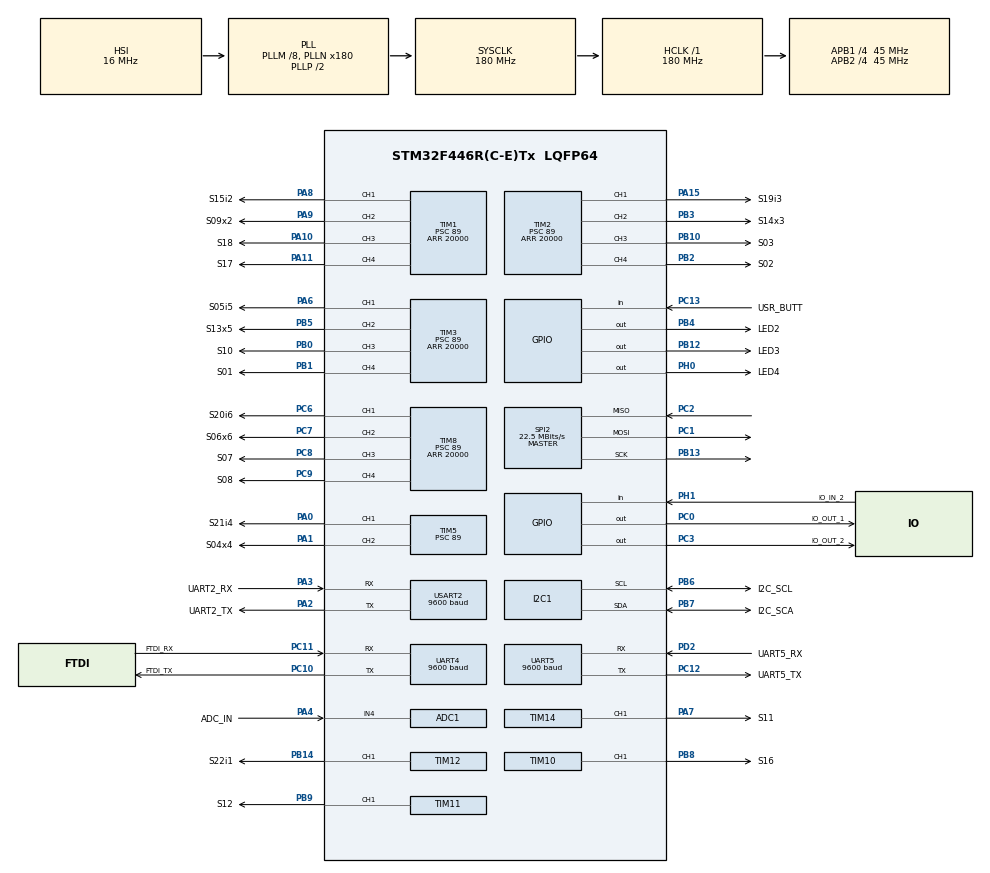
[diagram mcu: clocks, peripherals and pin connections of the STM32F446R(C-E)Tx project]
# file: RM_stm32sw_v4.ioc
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ADC1.Channel-0\#ChannelRegularConversion=ADC_CHANNEL_4
ADC1.NbrOfConversionFlag=1
ADC1.Rank-0\#ChannelRegularConversion=1
ADC1.SamplingTime-0\#ChannelRegularConversion=ADC_SAMPLETIME_3CYCLES
ADC1.master=1
Dma.Request0=USART2_RX
Dma.Request1=USART2_TX
Dma.Request2=UART4_RX
Dma.Request3=UART4_TX
Dma.Request4=UART5_RX
Dma.Request5=UART5_TX
Dma.Request6=SPI2_RX
Dma.SPI2_RX.6.Direction=DMA_PERIPH_TO_MEMORY
Dma.SPI2_RX.6.FIFOMode=DMA_FIFOMODE_DISABLE
Dma.SPI2_RX.6.Instance=DMA1_Stream3
Dma.SPI2_RX.6.MemDataAlignment=DMA_MDATAALIGN_BYTE
Dma.SPI2_RX.6.MemInc=DMA_MINC_ENABLE
Dma.SPI2_RX.6.Mode=DMA_NORMAL
Dma.SPI2_RX.6.PeriphDataAlignment=DMA_PDATAALIGN_BYTE
Dma.SPI2_RX.6.PeriphInc=DMA_PINC_DISABLE
Dma.SPI2_RX.6.Priority=DMA_PRIORITY_LOW
Dma.UART4_RX.2.Direction=DMA_PERIPH_TO_MEMORY
Dma.UART4_RX.2.FIFOMode=DMA_FIFOMODE_DISABLE
Dma.UART4_RX.2.Instance=DMA1_Stream2
Dma.UART4_RX.2.MemDataAlignment=DMA_MDATAALIGN_BYTE
Dma.UART4_RX.2.MemInc=DMA_MINC_ENABLE
Dma.UART4_RX.2.Mode=DMA_NORMAL
Dma.UART4_RX.2.PeriphDataAlignment=DMA_PDATAALIGN_BYTE
Dma.UART4_RX.2.PeriphInc=DMA_PINC_DISABLE
Dma.UART4_RX.2.Priority=DMA_PRIORITY_LOW
Dma.UART4_TX.3.Direction=DMA_MEMORY_TO_PERIPH
Dma.UART4_TX.3.FIFOMode=DMA_FIFOMODE_DISABLE
Dma.UART4_TX.3.Instance=DMA1_Stream4
Dma.UART4_TX.3.MemDataAlignment=DMA_MDATAALIGN_BYTE
Dma.UART4_TX.3.MemInc=DMA_MINC_ENABLE
Dma.UART4_TX.3.Mode=DMA_NORMAL
Dma.UART4_TX.3.PeriphDataAlignment=DMA_PDATAALIGN_BYTE
Dma.UART4_TX.3.PeriphInc=DMA_PINC_DISABLE
Dma.UART4_TX.3.Priority=DMA_PRIORITY_LOW
Dma.UART5_RX.4.Direction=DMA_PERIPH_TO_MEMORY
Dma.UART5_RX.4.FIFOMode=DMA_FIFOMODE_DISABLE
Dma.UART5_RX.4.Instance=DMA1_Stream0
Dma.UART5_RX.4.MemDataAlignment=DMA_MDATAALIGN_BYTE
Dma.UART5_RX.4.MemInc=DMA_MINC_ENABLE
Dma.UART5_RX.4.Mode=DMA_NORMAL
Dma.UART5_RX.4.PeriphDataAlignment=DMA_PDATAALIGN_BYTE
Dma.UART5_RX.4.PeriphInc=DMA_PINC_DISABLE
Dma.UART5_RX.4.Priority=DMA_PRIORITY_LOW
Dma.UART5_TX.5.Direction=DMA_MEMORY_TO_PERIPH
Dma.UART5_TX.5.FIFOMode=DMA_FIFOMODE_DISABLE
Dma.UART5_TX.5.Instance=DMA1_Stream7
Dma.UART5_TX.5.MemDataAlignment=DMA_MDATAALIGN_BYTE
Dma.UART5_TX.5.MemInc=DMA_MINC_ENABLE
Dma.UART5_TX.5.Mode=DMA_NORMAL
Dma.UART5_TX.5.PeriphDataAlignment=DMA_PDATAALIGN_BYTE
Dma.UART5_TX.5.PeriphInc=DMA_PINC_DISABLE
Dma.UART5_TX.5.Priority=DMA_PRIORITY_LOW
Dma.USART2_RX.0.Direction=DMA_PERIPH_TO_MEMORY
Dma.USART2_RX.0.FIFOMode=DMA_FIFOMODE_DISABLE
Dma.USART2_RX.0.Instance=DMA1_Stream5
Dma.USART2_RX.0.MemDataAlignment=DMA_MDATAALIGN_BYTE
Dma.USART2_RX.0.MemInc=DMA_MINC_ENABLE
Dma.USART2_RX.0.Mode=DMA_NORMAL
Dma.USART2_RX.0.PeriphDataAlignment=DMA_PDATAALIGN_BYTE
Dma.USART2_RX.0.PeriphInc=DMA_PINC_DISABLE
Dma.USART2_RX.0.Priority=DMA_PRIORITY_LOW
Dma.USART2_TX.1.Direction=DMA_MEMORY_TO_PERIPH
Dma.USART2_TX.1.FIFOMode=DMA_FIFOMODE_DISABLE
Dma.USART2_TX.1.Instance=DMA1_Stream6
Dma.USART2_TX.1.MemDataAlignment=DMA_MDATAALIGN_BYTE
Dma.USART2_TX.1.MemInc=DMA_MINC_ENABLE
Dma.USART2_TX.1.Mode=DMA_NORMAL
Dma.USART2_TX.1.PeriphDataAlignment=DMA_PDATAALIGN_BYTE
Dma.USART2_TX.1.PeriphInc=DMA_PINC_DISABLE
Dma.USART2_TX.1.Priority=DMA_PRIORITY_LOW
Mcu.Family=STM32F4
Mcu.Name=STM32F446R(C-E)Tx
Mcu.Package=LQFP64
NVIC.DMA1_Stream0_IRQn=true\:0\:0\:false\:false\:true\:false\:true
NVIC.DMA1_Stream2_IRQn=true\:0\:0\:false\:false\:true\:false\:true
NVIC.DMA1_Stream3_IRQn=true\:0\:0\:false\:false\:true\:false\:true
NVIC.DMA1_Stream4_IRQn=true\:0\:0\:false\:false\:true\:false\:true
NVIC.DMA1_Stream5_IRQn=true\:0\:0\:false\:false\:true\:false\:true
NVIC.DMA1_Stream6_IRQn=true\:0\:0\:false\:false\:true\:false\:true
NVIC.DMA1_Stream7_IRQn=true\:0\:0\:false\:false\:true\:false\:true
NVIC.PriorityGroup=NVIC_PRIORITYGROUP_4
NVIC.TIM8_UP_TIM13_IRQn=true\:0\:0\:false\:false\:true\:true\:true
NVIC.UART4_IRQn=true\:0\:0\:false\:false\:true\:true\:true
PA0-WKUP.GPIO_Label=S21i4
PA0-WKUP.Signal=S_TIM5_CH1
PA1.GPIO_Label=S04x4
PA1.Signal=S_TIM5_CH2
PA10.GPIO_Label=S18
PA10.Signal=S_TIM1_CH3
PA11.GPIO_Label=S17
PA11.Signal=S_TIM1_CH4
PA13.GPIO_Label=SWDIO
PA13.Mode=Serial_Wire
PA13.Signal=SYS_JTMS-SWDIO
PA14.GPIO_Label=SWCLK
PA14.Mode=Serial_Wire
PA14.Signal=SYS_JTCK-SWCLK
PA15.GPIO_Label=S19i3
PA15.Signal=S_TIM2_CH1_ETR
PA2.GPIO_Label=UART2_TX
PA2.Mode=Asynchronous
PA2.Signal=USART2_TX
PA3.GPIO_Label=UART2_RX
PA3.Mode=Asynchronous
PA3.Signal=USART2_RX
PA4.GPIO_Label=ADC_IN
PA4.Signal=SharedAnalog_PA4
PA6.GPIO_Label=S05i5
PA6.Signal=S_TIM3_CH1
PA7.GPIO_Label=S11
PA7.Signal=S_TIM14_CH1
PA8.GPIO_Label=S15i2
PA8.Signal=S_TIM1_CH1
PA9.GPIO_Label=S09x2
PA9.Signal=S_TIM1_CH2
PB0.GPIO_Label=S10
PB0.Signal=S_TIM3_CH3
PB1.GPIO_Label=S01
PB1.Signal=S_TIM3_CH4
PB10.GPIO_Label=S03
PB10.Signal=S_TIM2_CH3
PB12.GPIO_Label=LED3
PB12.Signal=GPIO_Output
PB13.Mode=Full_Duplex_Master
PB13.Signal=SPI2_SCK
PB14.GPIO_Label=S22i1
PB14.Signal=S_TIM12_CH1
PB2.GPIO_Label=S02
PB2.Signal=S_TIM2_CH4
PB3.GPIO_Label=S14x3
PB3.Signal=S_TIM2_CH2
PB4.GPIO_Label=LED2
PB4.Signal=GPIO_Output
PB5.GPIO_Label=S13x5
PB5.Signal=S_TIM3_CH2
PB6.GPIO_Label=I2C_SCL
PB6.Mode=I2C
PB6.Signal=I2C1_SCL
PB7.GPIO_Label=I2C_SCA
PB7.Mode=I2C
PB7.Signal=I2C1_SDA
PB8.GPIO_Label=S16
PB8.Signal=S_TIM10_CH1
PB9.GPIO_Label=S12
PB9.Signal=S_TIM11_CH1
PC0.GPIO_Label=IO_OUT_1
PC0.Signal=GPIO_Output
PC1.Mode=Full_Duplex_Master
PC1.Signal=SPI2_MOSI
PC10.GPIO_Label=FTDI_TX
PC10.Mode=Asynchronous
PC10.Signal=UART4_TX
PC11.GPIO_Label=FTDI_RX
PC11.Mode=Asynchronous
PC11.Signal=UART4_RX
PC12.GPIO_Label=UART5_TX
PC12.Mode=Asynchronous
PC12.Signal=UART5_TX
PC13.GPIO_Label=USR_BUTT
PC13.Signal=GPIO_Input
PC14-OSC32_IN.GPIO_Label=OSC_IN
PC14-OSC32_IN.Signal=RCC_OSC32_IN
PC15-OSC32_OUT.GPIO_Label=OSC_OUT
PC15-OSC32_OUT.Signal=RCC_OSC32_OUT
PC2.Mode=Full_Duplex_Master
PC2.Signal=SPI2_MISO
PC3.GPIO_Label=IO_OUT_2
PC3.Signal=GPIO_Output
PC6.GPIO_Label=S20i6
PC6.Signal=S_TIM8_CH1
PC7.GPIO_Label=S06x6
PC7.Signal=S_TIM8_CH2
PC8.GPIO_Label=S07
PC8.Signal=S_TIM8_CH3
PC9.GPIO_Label=S08
PC9.Signal=S_TIM8_CH4
PD2.GPIO_Label=UART5_RX
PD2.Mode=Asynchronous
PD2.Signal=UART5_RX
PH0-OSC_IN.GPIO_Label=LED4
PH0-OSC_IN.Signal=GPIO_Output
PH1-OSC_OUT.GPIO_Label=IO_IN_2
PH1-OSC_OUT.Signal=GPIO_Input
ProjectManager.HeapSize=0x200
ProjectManager.StackSize=0x400
ProjectManager.TargetToolchain=TrueSTUDIO
RCC.AHBFreq_Value=180000000
RCC.APB1CLKDivider=RCC_HCLK_DIV4
RCC.APB1Freq_Value=45000000
RCC.APB1TimFreq_Value=90000000
RCC.APB2CLKDivider=RCC_HCLK_DIV4
RCC.APB2Freq_Value=45000000
RCC.APB2TimFreq_Value=90000000
RCC.CortexFreq_Value=180000000
RCC.HCLKFreq_Value=180000000
RCC.PLLM=8
RCC.PLLN=180
RCC.SYSCLKFreq_VALUE=180000000
RCC.SYSCLKSource=RCC_SYSCLKSOURCE_PLLCLK
RCC.USBFreq_Value=180000000
RCC.VCOOutputFreq_Value=360000000
SH.S_TIM10_CH1.0=TIM10_CH1,PWM Generation1 CH1
SH.S_TIM11_CH1.0=TIM11_CH1,PWM Generation1 CH1
SH.S_TIM12_CH1.0=TIM12_CH1,PWM Generation1 CH1
SH.S_TIM14_CH1.0=TIM14_CH1,PWM Generation1 CH1
SH.S_TIM1_CH1.0=TIM1_CH1,PWM Generation1 CH1
SH.S_TIM1_CH2.0=TIM1_CH2,PWM Generation2 CH2
SH.S_TIM1_CH3.0=TIM1_CH3,PWM Generation3 CH3
SH.S_TIM1_CH4.0=TIM1_CH4,PWM Generation4 CH4
SH.S_TIM2_CH1_ETR.0=TIM2_CH1,PWM Generation1 CH1
SH.S_TIM2_CH2.0=TIM2_CH2,PWM Generation2 CH2
SH.S_TIM2_CH3.0=TIM2_CH3,PWM Generation3 CH3
SH.S_TIM2_CH4.0=TIM2_CH4,PWM Generation4 CH4
SH.S_TIM3_CH1.0=TIM3_CH1,PWM Generation1 CH1
SH.S_TIM3_CH2.0=TIM3_CH2,PWM Generation2 CH2
SH.S_TIM3_CH3.0=TIM3_CH3,PWM Generation3 CH3
SH.S_TIM3_CH4.0=TIM3_CH4,PWM Generation4 CH4
SH.S_TIM5_CH1.0=TIM5_CH1,PWM Generation1 CH1
SH.S_TIM5_CH2.0=TIM5_CH2,PWM Generation2 CH2
SH.S_TIM8_CH1.0=TIM8_CH1,PWM Generation1 CH1
SH.S_TIM8_CH2.0=TIM8_CH2,PWM Generation2 CH2
SH.S_TIM8_CH3.0=TIM8_CH3,PWM Generation3 CH3
SH.S_TIM8_CH4.0=TIM8_CH4,PWM Generation4 CH4
SH.SharedAnalog_PA4.0=GPIO_Analog
SH.SharedAnalog_PA4.1=ADC1_IN4,IN4
SPI2.BaudRatePrescaler=SPI_BAUDRATEPRESCALER_2
SPI2.CalculateBaudRate=22.5 MBits/s
SPI2.Direction=SPI_DIRECTION_2LINES
SPI2.Mode=SPI_MODE_MASTER
SPI2.VirtualType=VM_MASTER
TIM1.Channel-PWM\ Generation1\ CH1=TIM_CHANNEL_1
TIM1.Channel-PWM\ Generation2\ CH2=TIM_CHANNEL_2
TIM1.Channel-PWM\ Generation3\ CH3=TIM_CHANNEL_3
TIM1.Channel-PWM\ Generation4\ CH4=TIM_CHANNEL_4
TIM1.Period=20000
TIM1.Prescaler=89
TIM1.Pulse-PWM\ Generation1\ CH1=1500
TIM1.Pulse-PWM\ Generation2\ CH2=1500
TIM1.Pulse-PWM\ Generation3\ CH3=1500
TIM1.Pulse-PWM\ Generation4\ CH4=1500
TIM10.Channel=TIM_CHANNEL_1
TIM10.Period=20000
TIM10.Prescaler=89
TIM10.Pulse=1500
TIM11.Channel=TIM_CHANNEL_1
TIM11.Period=20000
TIM11.Prescaler=89
TIM11.Pulse=1500
TIM12.Channel-PWM\ Generation1\ CH1=TIM_CHANNEL_1
TIM13.Period=20000
TIM13.Prescaler=89
TIM14.Channel=TIM_CHANNEL_1
TIM14.Period=20000
TIM14.Prescaler=89
TIM14.Pulse=1500
TIM2.Channel-PWM\ Generation1\ CH1=TIM_CHANNEL_1
TIM2.Channel-PWM\ Generation2\ CH2=TIM_CHANNEL_2
TIM2.Channel-PWM\ Generation3\ CH3=TIM_CHANNEL_3
TIM2.Channel-PWM\ Generation4\ CH4=TIM_CHANNEL_4
TIM2.Period=20000
TIM2.Prescaler=89
TIM2.Pulse-PWM\ Generation1\ CH1=1500
TIM2.Pulse-PWM\ Generation2\ CH2=1500
TIM2.Pulse-PWM\ Generation3\ CH3=1500
TIM2.Pulse-PWM\ Generation4\ CH4=1500
TIM3.Channel-PWM\ Generation1\ CH1=TIM_CHANNEL_1
TIM3.Channel-PWM\ Generation2\ CH2=TIM_CHANNEL_2
TIM3.Channel-PWM\ Generation3\ CH3=TIM_CHANNEL_3
TIM3.Channel-PWM\ Generation4\ CH4=TIM_CHANNEL_4
TIM3.Period=20000
TIM3.Prescaler=89
TIM3.Pulse-PWM\ Generation1\ CH1=1500
TIM3.Pulse-PWM\ Generation2\ CH2=1500
TIM3.Pulse-PWM\ Generation3\ CH3=1500
TIM3.Pulse-PWM\ Generation4\ CH4=1500
TIM5.Channel-PWM\ Generation1\ CH1=TIM_CHANNEL_1
TIM5.Channel-PWM\ Generation2\ CH2=TIM_CHANNEL_2
TIM5.Period=20000
TIM5.Prescaler=89
TIM5.Pulse-PWM\ Generation1\ CH1=1500
TIM5.Pulse-PWM\ Generation2\ CH2=1500
TIM8.Channel-PWM\ Generation1\ CH1=TIM_CHANNEL_1
TIM8.Channel-PWM\ Generation2\ CH2=TIM_CHANNEL_2
TIM8.Channel-PWM\ Generation3\ CH3=TIM_CHANNEL_3
TIM8.Channel-PWM\ Generation4\ CH4=TIM_CHANNEL_4
TIM8.Period=20000
TIM8.Prescaler=89
TIM8.Pulse-PWM\ Generation1\ CH1=1500
TIM8.Pulse-PWM\ Generation2\ CH2=1500
TIM8.Pulse-PWM\ Generation3\ CH3=1500
TIM8.Pulse-PWM\ Generation4\ CH4=1500
UART4.BaudRate=9600
UART4.VirtualMode=Asynchronous
UART5.BaudRate=9600
UART5.VirtualMode=Asynchronous
USART2.BaudRate=9600
USART2.VirtualMode=VM_ASYNC
VP_RTC_VS_RTC_Activate.Mode=RTC_Enabled
VP_TIM10_VS_ClockSourceINT.Mode=Enable_Timer
VP_TIM11_VS_ClockSourceINT.Mode=Enable_Timer
VP_TIM12_VS_ClockSourceINT.Mode=Internal
VP_TIM13_VS_ClockSourceINT.Mode=Enable_Timer
VP_TIM14_VS_ClockSourceINT.Mode=Enable_Timer
VP_TIM1_VS_ClockSourceINT.Mode=Internal
VP_TIM2_VS_ClockSourceINT.Mode=Internal
VP_TIM3_VS_ClockSourceINT.Mode=Internal
VP_TIM8_VS_ClockSourceINT.Mode=Internal
board=custom

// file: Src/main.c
/* USER CODE BEGIN Header */
/**
  ******************************************************************************
  * @file           : main.c
  * @brief          : Main program body
  ******************************************************************************
  * @attention
  *
  * <h2><center>&copy; Copyright (c) 2020 STMicroelectronics.
  * All rights reserved.</center></h2>
  *
  * This software component is licensed by ST under BSD 3-Clause license,
  * the "License"; You may not use this file except in compliance with the
  * License. You may obtain a copy of the License at:
  *                        opensource.org/licenses/BSD-3-Clause
  *
  ******************************************************************************
  */
/* USER CODE END Header */

#include "main.h"

/* USER CODE BEGIN Includes */
#include "stdio.h"
#include "serial.h"
#include "math.h"
#include "tools.h"
#include "servo.h"
#include "leg.h"
#include "robot.h"
/* USER CODE END Includes */

ADC_HandleTypeDef hadc1;

I2C_HandleTypeDef hi2c1;

RTC_HandleTypeDef hrtc;

SPI_HandleTypeDef hspi2;
DMA_HandleTypeDef hdma_spi2_rx;

TIM_HandleTypeDef htim1;
TIM_HandleTypeDef htim2;
TIM_HandleTypeDef htim3;
TIM_HandleTypeDef htim5;
TIM_HandleTypeDef htim8;
TIM_HandleTypeDef htim10;
TIM_HandleTypeDef htim11;
TIM_HandleTypeDef htim12;
TIM_HandleTypeDef htim13;
TIM_HandleTypeDef htim14;

UART_HandleTypeDef huart4;
UART_HandleTypeDef huart5;
UART_HandleTypeDef huart2;
DMA_HandleTypeDef hdma_uart4_rx;
DMA_HandleTypeDef hdma_uart4_tx;
DMA_HandleTypeDef hdma_uart5_rx;
DMA_HandleTypeDef hdma_uart5_tx;
DMA_HandleTypeDef hdma_usart2_rx;
DMA_HandleTypeDef hdma_usart2_tx;

void SystemClock_Config(void);
static void MX_GPIO_Init(void);
static void MX_DMA_Init(void);
static void MX_ADC1_Init(void);
static void MX_I2C1_Init(void);
static void MX_RTC_Init(void);
static void MX_SPI2_Init(void);
static void MX_TIM1_Init(void);
static void MX_TIM2_Init(void);
static void MX_TIM3_Init(void);
static void MX_TIM5_Init(void);
static void MX_TIM8_Init(void);
static void MX_TIM10_Init(void);
static void MX_TIM11_Init(void);
static void MX_TIM12_Init(void);
static void MX_TIM14_Init(void);
static void MX_UART4_Init(void);
static void MX_UART5_Init(void);
static void MX_USART2_UART_Init(void);
static void MX_TIM13_Init(void);

int main(void)
{
  /* USER CODE BEGIN 1 */
  int i;
  int len;
  char cmd_line[64];
  char outbuf[64];
  HAL_Serial_Handler FTDI_hserial;
  HAL_Serial_Handler BT_hserial;
  HAL_LineBuffer_Handler FTDI_hlinebuffer;
  /* USER CODE END 1 */

  /* MCU Configuration--------------------------------------------------------*/

  /* Reset of all peripherals, Initializes the Flash interface and the Systick. */
  HAL_Init();

  /* Configure the system clock */
  SystemClock_Config();

  /* Initialize all configured peripherals */
  MX_GPIO_Init();
  MX_DMA_Init();
  MX_ADC1_Init();
  MX_I2C1_Init();
  MX_RTC_Init();
  MX_SPI2_Init();
  MX_TIM1_Init();
  MX_TIM2_Init();
  MX_TIM3_Init();
  MX_TIM5_Init();
  MX_TIM8_Init();
  MX_TIM10_Init();
  MX_TIM11_Init();
  MX_TIM12_Init();
  MX_TIM14_Init();
  MX_UART4_Init();
  MX_UART5_Init();
  MX_USART2_UART_Init();
  MX_TIM13_Init();
  /* USER CODE BEGIN 2 */

  // Initialise servo timers
  HAL_TIM_Base_Start_IT(&htim1);
  HAL_TIM_Base_Start_IT(&htim2);
  HAL_TIM_Base_Start_IT(&htim3);
  HAL_TIM_Base_Start_IT(&htim5);
  HAL_TIM_Base_Start_IT(&htim8);
  HAL_TIM_Base_Start_IT(&htim10);
  HAL_TIM_Base_Start_IT(&htim11);
  HAL_TIM_Base_Start_IT(&htim14);

  // Serial initialisation
  HAL_Serial_Init(&huart4, &FTDI_hserial);
//  HAL_Serial_Init(&huart2, &BT_hserial);
//  HAL_LineBuffer_Init(&FTDI_hlinebuffer, &FTDI_hserial);

  /* USER CODE END 2 */

  /* Infinite loop */
  while (1)
  {

    /* USER CODE BEGIN 3 */
    HAL_GPIO_TogglePin(LED2_GPIO_Port, LED2_Pin);
    HAL_Delay(200);
  }
  /* USER CODE END 3 */
}

void SystemClock_Config(void)
{
  RCC_OscInitTypeDef RCC_OscInitStruct = {0};
  RCC_ClkInitTypeDef RCC_ClkInitStruct = {0};
  RCC_PeriphCLKInitTypeDef PeriphClkInitStruct = {0};

  /** Configure the main internal regulator output voltage
  */
  __HAL_RCC_PWR_CLK_ENABLE();
  __HAL_PWR_VOLTAGESCALING_CONFIG(PWR_REGULATOR_VOLTAGE_SCALE1);
  /** Initializes the CPU, AHB and APB busses clocks
  */
  RCC_OscInitStruct.OscillatorType = RCC_OSCILLATORTYPE_HSI|RCC_OSCILLATORTYPE_LSI;
  RCC_OscInitStruct.LSEState = RCC_LSE_OFF;
  RCC_OscInitStruct.HSIState = RCC_HSI_ON;
  RCC_OscInitStruct.HSICalibrationValue = RCC_HSICALIBRATION_DEFAULT;
  RCC_OscInitStruct.LSIState = RCC_LSI_ON;
  RCC_OscInitStruct.PLL.PLLState = RCC_PLL_ON;
  RCC_OscInitStruct.PLL.PLLSource = RCC_PLLSOURCE_HSI;
  RCC_OscInitStruct.PLL.PLLM = 8;
  RCC_OscInitStruct.PLL.PLLN = 180;
  RCC_OscInitStruct.PLL.PLLP = RCC_PLLP_DIV2;
  RCC_OscInitStruct.PLL.PLLQ = 2;
  RCC_OscInitStruct.PLL.PLLR = 2;
  if (HAL_RCC_OscConfig(&RCC_OscInitStruct) != HAL_OK)
  {
    Error_Handler();
  }
  /** Activate the Over-Drive mode
  */
  if (HAL_PWREx_EnableOverDrive() != HAL_OK)
  {
    Error_Handler();
  }
  /** Initializes the CPU, AHB and APB busses clocks
  */
  RCC_ClkInitStruct.ClockType = RCC_CLOCKTYPE_HCLK|RCC_CLOCKTYPE_SYSCLK
                              |RCC_CLOCKTYPE_PCLK1|RCC_CLOCKTYPE_PCLK2;
  RCC_ClkInitStruct.SYSCLKSource = RCC_SYSCLKSOURCE_PLLCLK;
  RCC_ClkInitStruct.AHBCLKDivider = RCC_SYSCLK_DIV1;
  RCC_ClkInitStruct.APB1CLKDivider = RCC_HCLK_DIV4;
  RCC_ClkInitStruct.APB2CLKDivider = RCC_HCLK_DIV4;

  if (HAL_RCC_ClockConfig(&RCC_ClkInitStruct, FLASH_LATENCY_5) != HAL_OK)
  {
    Error_Handler();
  }
  PeriphClkInitStruct.PeriphClockSelection = RCC_PERIPHCLK_RTC;
  PeriphClkInitStruct.RTCClockSelection = RCC_RTCCLKSOURCE_LSI;
  if (HAL_RCCEx_PeriphCLKConfig(&PeriphClkInitStruct) != HAL_OK)
  {
    Error_Handler();
  }
}

static void MX_ADC1_Init(void)
{

  ADC_ChannelConfTypeDef sConfig = {0};

  /** Configure the global features of the ADC (Clock, Resolution, Data Alignment and number of conversion)
  */
  hadc1.Instance = ADC1;
  hadc1.Init.ClockPrescaler = ADC_CLOCK_SYNC_PCLK_DIV2;
  hadc1.Init.Resolution = ADC_RESOLUTION_12B;
  hadc1.Init.ScanConvMode = DISABLE;
  hadc1.Init.ContinuousConvMode = DISABLE;
  hadc1.Init.DiscontinuousConvMode = DISABLE;
  hadc1.Init.ExternalTrigConvEdge = ADC_EXTERNALTRIGCONVEDGE_NONE;
  hadc1.Init.ExternalTrigConv = ADC_SOFTWARE_START;
  hadc1.Init.DataAlign = ADC_DATAALIGN_RIGHT;
  hadc1.Init.NbrOfConversion = 1;
  hadc1.Init.DMAContinuousRequests = DISABLE;
  hadc1.Init.EOCSelection = ADC_EOC_SINGLE_CONV;
  if (HAL_ADC_Init(&hadc1) != HAL_OK)
  {
    Error_Handler();
  }
  /** Configure for the selected ADC regular channel its corresponding rank in the sequencer and its sample time.
  */
  sConfig.Channel = ADC_CHANNEL_4;
  sConfig.Rank = 1;
  sConfig.SamplingTime = ADC_SAMPLETIME_3CYCLES;
  if (HAL_ADC_ConfigChannel(&hadc1, &sConfig) != HAL_OK)
  {
    Error_Handler();
  }

}

static void MX_I2C1_Init(void)
{

  hi2c1.Instance = I2C1;
  hi2c1.Init.ClockSpeed = 100000;
  hi2c1.Init.DutyCycle = I2C_DUTYCYCLE_2;
  hi2c1.Init.OwnAddress1 = 0;
  hi2c1.Init.AddressingMode = I2C_ADDRESSINGMODE_7BIT;
  hi2c1.Init.DualAddressMode = I2C_DUALADDRESS_DISABLE;
  hi2c1.Init.OwnAddress2 = 0;
  hi2c1.Init.GeneralCallMode = I2C_GENERALCALL_DISABLE;
  hi2c1.Init.NoStretchMode = I2C_NOSTRETCH_DISABLE;
  if (HAL_I2C_Init(&hi2c1) != HAL_OK)
  {
    Error_Handler();
  }

}

static void MX_RTC_Init(void)
{

  /** Initialize RTC Only
  */
  hrtc.Instance = RTC;
  hrtc.Init.HourFormat = RTC_HOURFORMAT_24;
  hrtc.Init.AsynchPrediv = 127;
  hrtc.Init.SynchPrediv = 255;
  hrtc.Init.OutPut = RTC_OUTPUT_DISABLE;
  hrtc.Init.OutPutPolarity = RTC_OUTPUT_POLARITY_HIGH;
  hrtc.Init.OutPutType = RTC_OUTPUT_TYPE_OPENDRAIN;
  if (HAL_RTC_Init(&hrtc) != HAL_OK)
  {
    Error_Handler();
  }

}

static void MX_SPI2_Init(void)
{

  /* SPI2 parameter configuration*/
  hspi2.Instance = SPI2;
  hspi2.Init.Mode = SPI_MODE_MASTER;
  hspi2.Init.Direction = SPI_DIRECTION_2LINES;
  hspi2.Init.DataSize = SPI_DATASIZE_8BIT;
  hspi2.Init.CLKPolarity = SPI_POLARITY_LOW;
  hspi2.Init.CLKPhase = SPI_PHASE_1EDGE;
  hspi2.Init.NSS = SPI_NSS_SOFT;
  hspi2.Init.BaudRatePrescaler = SPI_BAUDRATEPRESCALER_2;
  hspi2.Init.FirstBit = SPI_FIRSTBIT_MSB;
  hspi2.Init.TIMode = SPI_TIMODE_DISABLE;
  hspi2.Init.CRCCalculation = SPI_CRCCALCULATION_DISABLE;
  hspi2.Init.CRCPolynomial = 10;
  if (HAL_SPI_Init(&hspi2) != HAL_OK)
  {
    Error_Handler();
  }

}

static void MX_TIM1_Init(void)
{

  TIM_ClockConfigTypeDef sClockSourceConfig = {0};
  TIM_MasterConfigTypeDef sMasterConfig = {0};
  TIM_OC_InitTypeDef sConfigOC = {0};
  TIM_BreakDeadTimeConfigTypeDef sBreakDeadTimeConfig = {0};

  htim1.Instance = TIM1;
  htim1.Init.Prescaler = 89;
  htim1.Init.CounterMode = TIM_COUNTERMODE_UP;
  htim1.Init.Period = 20000;
  htim1.Init.ClockDivision = TIM_CLOCKDIVISION_DIV1;
  htim1.Init.RepetitionCounter = 0;
  htim1.Init.AutoReloadPreload = TIM_AUTORELOAD_PRELOAD_DISABLE;
  if (HAL_TIM_Base_Init(&htim1) != HAL_OK)
  {
    Error_Handler();
  }
  sClockSourceConfig.ClockSource = TIM_CLOCKSOURCE_INTERNAL;
  if (HAL_TIM_ConfigClockSource(&htim1, &sClockSourceConfig) != HAL_OK)
  {
    Error_Handler();
  }
  if (HAL_TIM_PWM_Init(&htim1) != HAL_OK)
  {
    Error_Handler();
  }
  sMasterConfig.MasterOutputTrigger = TIM_TRGO_RESET;
  sMasterConfig.MasterSlaveMode = TIM_MASTERSLAVEMODE_DISABLE;
  if (HAL_TIMEx_MasterConfigSynchronization(&htim1, &sMasterConfig) != HAL_OK)
  {
    Error_Handler();
  }
  sConfigOC.OCMode = TIM_OCMODE_PWM1;
  sConfigOC.Pulse = 1500;
  sConfigOC.OCPolarity = TIM_OCPOLARITY_HIGH;
  sConfigOC.OCNPolarity = TIM_OCNPOLARITY_HIGH;
  sConfigOC.OCFastMode = TIM_OCFAST_DISABLE;
  sConfigOC.OCIdleState = TIM_OCIDLESTATE_RESET;
  sConfigOC.OCNIdleState = TIM_OCNIDLESTATE_RESET;
  if (HAL_TIM_PWM_ConfigChannel(&htim1, &sConfigOC, TIM_CHANNEL_1) != HAL_OK)
  {
    Error_Handler();
  }
  if (HAL_TIM_PWM_ConfigChannel(&htim1, &sConfigOC, TIM_CHANNEL_2) != HAL_OK)
  {
    Error_Handler();
  }
  if (HAL_TIM_PWM_ConfigChannel(&htim1, &sConfigOC, TIM_CHANNEL_3) != HAL_OK)
  {
    Error_Handler();
  }
  if (HAL_TIM_PWM_ConfigChannel(&htim1, &sConfigOC, TIM_CHANNEL_4) != HAL_OK)
  {
    Error_Handler();
  }
  sBreakDeadTimeConfig.OffStateRunMode = TIM_OSSR_DISABLE;
  sBreakDeadTimeConfig.OffStateIDLEMode = TIM_OSSI_DISABLE;
  sBreakDeadTimeConfig.LockLevel = TIM_LOCKLEVEL_OFF;
  sBreakDeadTimeConfig.DeadTime = 0;
  sBreakDeadTimeConfig.BreakState = TIM_BREAK_DISABLE;
  sBreakDeadTimeConfig.BreakPolarity = TIM_BREAKPOLARITY_HIGH;
  sBreakDeadTimeConfig.AutomaticOutput = TIM_AUTOMATICOUTPUT_DISABLE;
  if (HAL_TIMEx_ConfigBreakDeadTime(&htim1, &sBreakDeadTimeConfig) != HAL_OK)
  {
    Error_Handler();
  }
  HAL_TIM_MspPostInit(&htim1);

}

static void MX_TIM2_Init(void)
{

  TIM_ClockConfigTypeDef sClockSourceConfig = {0};
  TIM_MasterConfigTypeDef sMasterConfig = {0};
  TIM_OC_InitTypeDef sConfigOC = {0};

  htim2.Instance = TIM2;
  htim2.Init.Prescaler = 89;
  htim2.Init.CounterMode = TIM_COUNTERMODE_UP;
  htim2.Init.Period = 20000;
  htim2.Init.ClockDivision = TIM_CLOCKDIVISION_DIV1;
  htim2.Init.AutoReloadPreload = TIM_AUTORELOAD_PRELOAD_DISABLE;
  if (HAL_TIM_Base_Init(&htim2) != HAL_OK)
  {
    Error_Handler();
  }
  sClockSourceConfig.ClockSource = TIM_CLOCKSOURCE_INTERNAL;
  if (HAL_TIM_ConfigClockSource(&htim2, &sClockSourceConfig) != HAL_OK)
  {
    Error_Handler();
  }
  if (HAL_TIM_PWM_Init(&htim2) != HAL_OK)
  {
    Error_Handler();
  }
  sMasterConfig.MasterOutputTrigger = TIM_TRGO_RESET;
  sMasterConfig.MasterSlaveMode = TIM_MASTERSLAVEMODE_DISABLE;
  if (HAL_TIMEx_MasterConfigSynchronization(&htim2, &sMasterConfig) != HAL_OK)
  {
    Error_Handler();
  }
  sConfigOC.OCMode = TIM_OCMODE_PWM1;
  sConfigOC.Pulse = 1500;
  sConfigOC.OCPolarity = TIM_OCPOLARITY_HIGH;
  sConfigOC.OCFastMode = TIM_OCFAST_DISABLE;
  if (HAL_TIM_PWM_ConfigChannel(&htim2, &sConfigOC, TIM_CHANNEL_1) != HAL_OK)
  {
    Error_Handler();
  }
  if (HAL_TIM_PWM_ConfigChannel(&htim2, &sConfigOC, TIM_CHANNEL_2) != HAL_OK)
  {
    Error_Handler();
  }
  if (HAL_TIM_PWM_ConfigChannel(&htim2, &sConfigOC, TIM_CHANNEL_3) != HAL_OK)
  {
    Error_Handler();
  }
  if (HAL_TIM_PWM_ConfigChannel(&htim2, &sConfigOC, TIM_CHANNEL_4) != HAL_OK)
  {
    Error_Handler();
  }
  HAL_TIM_MspPostInit(&htim2);

}

static void MX_TIM3_Init(void)
{

  TIM_ClockConfigTypeDef sClockSourceConfig = {0};
  TIM_MasterConfigTypeDef sMasterConfig = {0};
  TIM_OC_InitTypeDef sConfigOC = {0};

  htim3.Instance = TIM3;
  htim3.Init.Prescaler = 89;
  htim3.Init.CounterMode = TIM_COUNTERMODE_UP;
  htim3.Init.Period = 20000;
  htim3.Init.ClockDivision = TIM_CLOCKDIVISION_DIV1;
  htim3.Init.AutoReloadPreload = TIM_AUTORELOAD_PRELOAD_DISABLE;
  if (HAL_TIM_Base_Init(&htim3) != HAL_OK)
  {
    Error_Handler();
  }
  sClockSourceConfig.ClockSource = TIM_CLOCKSOURCE_INTERNAL;
  if (HAL_TIM_ConfigClockSource(&htim3, &sClockSourceConfig) != HAL_OK)
  {
    Error_Handler();
  }
  if (HAL_TIM_PWM_Init(&htim3) != HAL_OK)
  {
    Error_Handler();
  }
  sMasterConfig.MasterOutputTrigger = TIM_TRGO_RESET;
  sMasterConfig.MasterSlaveMode = TIM_MASTERSLAVEMODE_DISABLE;
  if (HAL_TIMEx_MasterConfigSynchronization(&htim3, &sMasterConfig) != HAL_OK)
  {
    Error_Handler();
  }
  sConfigOC.OCMode = TIM_OCMODE_PWM1;
  sConfigOC.Pulse = 1500;
  sConfigOC.OCPolarity = TIM_OCPOLARITY_HIGH;
  sConfigOC.OCFastMode = TIM_OCFAST_DISABLE;
  if (HAL_TIM_PWM_ConfigChannel(&htim3, &sConfigOC, TIM_CHANNEL_1) != HAL_OK)
  {
    Error_Handler();
  }
  if (HAL_TIM_PWM_ConfigChannel(&htim3, &sConfigOC, TIM_CHANNEL_2) != HAL_OK)
  {
    Error_Handler();
  }
  if (HAL_TIM_PWM_ConfigChannel(&htim3, &sConfigOC, TIM_CHANNEL_3) != HAL_OK)
  {
    Error_Handler();
  }
  if (HAL_TIM_PWM_ConfigChannel(&htim3, &sConfigOC, TIM_CHANNEL_4) != HAL_OK)
  {
    Error_Handler();
  }
  HAL_TIM_MspPostInit(&htim3);

}

static void MX_TIM5_Init(void)
{

  TIM_MasterConfigTypeDef sMasterConfig = {0};
  TIM_OC_InitTypeDef sConfigOC = {0};

  htim5.Instance = TIM5;
  htim5.Init.Prescaler = 89;
  htim5.Init.CounterMode = TIM_COUNTERMODE_UP;
  htim5.Init.Period = 20000;
  htim5.Init.ClockDivision = TIM_CLOCKDIVISION_DIV1;
  htim5.Init.AutoReloadPreload = TIM_AUTORELOAD_PRELOAD_DISABLE;
  if (HAL_TIM_PWM_Init(&htim5) != HAL_OK)
  {
    Error_Handler();
  }
  sMasterConfig.MasterOutputTrigger = TIM_TRGO_RESET;
  sMasterConfig.MasterSlaveMode = TIM_MASTERSLAVEMODE_DISABLE;
  if (HAL_TIMEx_MasterConfigSynchronization(&htim5, &sMasterConfig) != HAL_OK)
  {
    Error_Handler();
  }
  sConfigOC.OCMode = TIM_OCMODE_PWM1;
  sConfigOC.Pulse = 1500;
  sConfigOC.OCPolarity = TIM_OCPOLARITY_HIGH;
  sConfigOC.OCFastMode = TIM_OCFAST_DISABLE;
  if (HAL_TIM_PWM_ConfigChannel(&htim5, &sConfigOC, TIM_CHANNEL_1) != HAL_OK)
  {
    Error_Handler();
  }
  if (HAL_TIM_PWM_ConfigChannel(&htim5, &sConfigOC, TIM_CHANNEL_2) != HAL_OK)
  {
    Error_Handler();
  }
  HAL_TIM_MspPostInit(&htim5);

}

static void MX_TIM8_Init(void)
{

  TIM_ClockConfigTypeDef sClockSourceConfig = {0};
  TIM_MasterConfigTypeDef sMasterConfig = {0};
  TIM_OC_InitTypeDef sConfigOC = {0};
  TIM_BreakDeadTimeConfigTypeDef sBreakDeadTimeConfig = {0};

  htim8.Instance = TIM8;
  htim8.Init.Prescaler = 89;
  htim8.Init.CounterMode = TIM_COUNTERMODE_UP;
  htim8.Init.Period = 20000;
  htim8.Init.ClockDivision = TIM_CLOCKDIVISION_DIV1;
  htim8.Init.RepetitionCounter = 0;
  htim8.Init.AutoReloadPreload = TIM_AUTORELOAD_PRELOAD_DISABLE;
  if (HAL_TIM_Base_Init(&htim8) != HAL_OK)
  {
    Error_Handler();
  }
  sClockSourceConfig.ClockSource = TIM_CLOCKSOURCE_INTERNAL;
  if (HAL_TIM_ConfigClockSource(&htim8, &sClockSourceConfig) != HAL_OK)
  {
    Error_Handler();
  }
  if (HAL_TIM_PWM_Init(&htim8) != HAL_OK)
  {
    Error_Handler();
  }
  sMasterConfig.MasterOutputTrigger = TIM_TRGO_RESET;
  sMasterConfig.MasterSlaveMode = TIM_MASTERSLAVEMODE_DISABLE;
  if (HAL_TIMEx_MasterConfigSynchronization(&htim8, &sMasterConfig) != HAL_OK)
  {
    Error_Handler();
  }
  sConfigOC.OCMode = TIM_OCMODE_PWM1;
  sConfigOC.Pulse = 1500;
  sConfigOC.OCPolarity = TIM_OCPOLARITY_HIGH;
  sConfigOC.OCNPolarity = TIM_OCNPOLARITY_HIGH;
  sConfigOC.OCFastMode = TIM_OCFAST_DISABLE;
  sConfigOC.OCIdleState = TIM_OCIDLESTATE_RESET;
  sConfigOC.OCNIdleState = TIM_OCNIDLESTATE_RESET;
  if (HAL_TIM_PWM_ConfigChannel(&htim8, &sConfigOC, TIM_CHANNEL_1) != HAL_OK)
  {
    Error_Handler();
  }
  if (HAL_TIM_PWM_ConfigChannel(&htim8, &sConfigOC, TIM_CHANNEL_2) != HAL_OK)
  {
    Error_Handler();
  }
  if (HAL_TIM_PWM_ConfigChannel(&htim8, &sConfigOC, TIM_CHANNEL_3) != HAL_OK)
  {
    Error_Handler();
  }
  if (HAL_TIM_PWM_ConfigChannel(&htim8, &sConfigOC, TIM_CHANNEL_4) != HAL_OK)
  {
    Error_Handler();
  }
  sBreakDeadTimeConfig.OffStateRunMode = TIM_OSSR_DISABLE;
  sBreakDeadTimeConfig.OffStateIDLEMode = TIM_OSSI_DISABLE;
  sBreakDeadTimeConfig.LockLevel = TIM_LOCKLEVEL_OFF;
  sBreakDeadTimeConfig.DeadTime = 0;
  sBreakDeadTimeConfig.BreakState = TIM_BREAK_DISABLE;
  sBreakDeadTimeConfig.BreakPolarity = TIM_BREAKPOLARITY_HIGH;
  sBreakDeadTimeConfig.AutomaticOutput = TIM_AUTOMATICOUTPUT_DISABLE;
  if (HAL_TIMEx_ConfigBreakDeadTime(&htim8, &sBreakDeadTimeConfig) != HAL_OK)
  {
    Error_Handler();
  }
  HAL_TIM_MspPostInit(&htim8);

}

static void MX_TIM10_Init(void)
{

  TIM_OC_InitTypeDef sConfigOC = {0};

  htim10.Instance = TIM10;
  htim10.Init.Prescaler = 89;
  htim10.Init.CounterMode = TIM_COUNTERMODE_UP;
  htim10.Init.Period = 20000;
  htim10.Init.ClockDivision = TIM_CLOCKDIVISION_DIV1;
  htim10.Init.AutoReloadPreload = TIM_AUTORELOAD_PRELOAD_DISABLE;
  if (HAL_TIM_Base_Init(&htim10) != HAL_OK)
  {
    Error_Handler();
  }
  if (HAL_TIM_PWM_Init(&htim10) != HAL_OK)
  {
    Error_Handler();
  }
  sConfigOC.OCMode = TIM_OCMODE_PWM1;
  sConfigOC.Pulse = 1500;
  sConfigOC.OCPolarity = TIM_OCPOLARITY_HIGH;
  sConfigOC.OCFastMode = TIM_OCFAST_DISABLE;
  if (HAL_TIM_PWM_ConfigChannel(&htim10, &sConfigOC, TIM_CHANNEL_1) != HAL_OK)
  {
    Error_Handler();
  }
  HAL_TIM_MspPostInit(&htim10);

}

static void MX_TIM11_Init(void)
{

  TIM_OC_InitTypeDef sConfigOC = {0};

  htim11.Instance = TIM11;
  htim11.Init.Prescaler = 89;
  htim11.Init.CounterMode = TIM_COUNTERMODE_UP;
  htim11.Init.Period = 20000;
  htim11.Init.ClockDivision = TIM_CLOCKDIVISION_DIV1;
  htim11.Init.AutoReloadPreload = TIM_AUTORELOAD_PRELOAD_DISABLE;
  if (HAL_TIM_Base_Init(&htim11) != HAL_OK)
  {
    Error_Handler();
  }
  if (HAL_TIM_PWM_Init(&htim11) != HAL_OK)
  {
    Error_Handler();
  }
  sConfigOC.OCMode = TIM_OCMODE_PWM1;
  sConfigOC.Pulse = 1500;
  sConfigOC.OCPolarity = TIM_OCPOLARITY_HIGH;
  sConfigOC.OCFastMode = TIM_OCFAST_DISABLE;
  if (HAL_TIM_PWM_ConfigChannel(&htim11, &sConfigOC, TIM_CHANNEL_1) != HAL_OK)
  {
    Error_Handler();
  }
  HAL_TIM_MspPostInit(&htim11);

}

static void MX_TIM12_Init(void)
{

  TIM_ClockConfigTypeDef sClockSourceConfig = {0};
  TIM_OC_InitTypeDef sConfigOC = {0};

  htim12.Instance = TIM12;
  htim12.Init.Prescaler = 0;
  htim12.Init.CounterMode = TIM_COUNTERMODE_UP;
  htim12.Init.Period = 0;
  htim12.Init.ClockDivision = TIM_CLOCKDIVISION_DIV1;
  htim12.Init.AutoReloadPreload = TIM_AUTORELOAD_PRELOAD_DISABLE;
  if (HAL_TIM_Base_Init(&htim12) != HAL_OK)
  {
    Error_Handler();
  }
  sClockSourceConfig.ClockSource = TIM_CLOCKSOURCE_INTERNAL;
  if (HAL_TIM_ConfigClockSource(&htim12, &sClockSourceConfig) != HAL_OK)
  {
    Error_Handler();
  }
  if (HAL_TIM_PWM_Init(&htim12) != HAL_OK)
  {
    Error_Handler();
  }
  sConfigOC.OCMode = TIM_OCMODE_PWM1;
  sConfigOC.Pulse = 0;
  sConfigOC.OCPolarity = TIM_OCPOLARITY_HIGH;
  sConfigOC.OCFastMode = TIM_OCFAST_DISABLE;
  if (HAL_TIM_PWM_ConfigChannel(&htim12, &sConfigOC, TIM_CHANNEL_1) != HAL_OK)
  {
    Error_Handler();
  }
  HAL_TIM_MspPostInit(&htim12);

}

static void MX_TIM13_Init(void)
{

  htim13.Instance = TIM13;
  htim13.Init.Prescaler = 89;
  htim13.Init.CounterMode = TIM_COUNTERMODE_UP;
  htim13.Init.Period = 20000;
  htim13.Init.ClockDivision = TIM_CLOCKDIVISION_DIV1;
  htim13.Init.AutoReloadPreload = TIM_AUTORELOAD_PRELOAD_DISABLE;
  if (HAL_TIM_Base_Init(&htim13) != HAL_OK)
  {
    Error_Handler();
  }

}

static void MX_TIM14_Init(void)
{

  TIM_OC_InitTypeDef sConfigOC = {0};

  htim14.Instance = TIM14;
  htim14.Init.Prescaler = 89;
  htim14.Init.CounterMode = TIM_COUNTERMODE_UP;
  htim14.Init.Period = 20000;
  htim14.Init.ClockDivision = TIM_CLOCKDIVISION_DIV1;
  htim14.Init.AutoReloadPreload = TIM_AUTORELOAD_PRELOAD_DISABLE;
  if (HAL_TIM_Base_Init(&htim14) != HAL_OK)
  {
    Error_Handler();
  }
  if (HAL_TIM_PWM_Init(&htim14) != HAL_OK)
  {
    Error_Handler();
  }
  sConfigOC.OCMode = TIM_OCMODE_PWM1;
  sConfigOC.Pulse = 1500;
  sConfigOC.OCPolarity = TIM_OCPOLARITY_HIGH;
  sConfigOC.OCFastMode = TIM_OCFAST_DISABLE;
  if (HAL_TIM_PWM_ConfigChannel(&htim14, &sConfigOC, TIM_CHANNEL_1) != HAL_OK)
  {
    Error_Handler();
  }
  HAL_TIM_MspPostInit(&htim14);

}

static void MX_UART4_Init(void)
{

  huart4.Instance = UART4;
  huart4.Init.BaudRate = 9600;
  huart4.Init.WordLength = UART_WORDLENGTH_8B;
  huart4.Init.StopBits = UART_STOPBITS_1;
  huart4.Init.Parity = UART_PARITY_NONE;
  huart4.Init.Mode = UART_MODE_TX_RX;
  huart4.Init.HwFlowCtl = UART_HWCONTROL_NONE;
  huart4.Init.OverSampling = UART_OVERSAMPLING_16;
  if (HAL_UART_Init(&huart4) != HAL_OK)
  {
    Error_Handler();
  }

}

static void MX_UART5_Init(void)
{

  huart5.Instance = UART5;
  huart5.Init.BaudRate = 9600;
  huart5.Init.WordLength = UART_WORDLENGTH_8B;
  huart5.Init.StopBits = UART_STOPBITS_1;
  huart5.Init.Parity = UART_PARITY_NONE;
  huart5.Init.Mode = UART_MODE_TX_RX;
  huart5.Init.HwFlowCtl = UART_HWCONTROL_NONE;
  huart5.Init.OverSampling = UART_OVERSAMPLING_16;
  if (HAL_UART_Init(&huart5) != HAL_OK)
  {
    Error_Handler();
  }

}

static void MX_USART2_UART_Init(void)
{

  huart2.Instance = USART2;
  huart2.Init.BaudRate = 9600;
  huart2.Init.WordLength = UART_WORDLENGTH_8B;
  huart2.Init.StopBits = UART_STOPBITS_1;
  huart2.Init.Parity = UART_PARITY_NONE;
  huart2.Init.Mode = UART_MODE_TX_RX;
  huart2.Init.HwFlowCtl = UART_HWCONTROL_NONE;
  huart2.Init.OverSampling = UART_OVERSAMPLING_16;
  if (HAL_UART_Init(&huart2) != HAL_OK)
  {
    Error_Handler();
  }

}

static void MX_DMA_Init(void)
{

  /* DMA controller clock enable */
  __HAL_RCC_DMA1_CLK_ENABLE();

  /* DMA interrupt init */
  /* DMA1_Stream0_IRQn interrupt configuration */
  HAL_NVIC_SetPriority(DMA1_Stream0_IRQn, 0, 0);
  HAL_NVIC_EnableIRQ(DMA1_Stream0_IRQn);
  /* DMA1_Stream2_IRQn interrupt configuration */
  HAL_NVIC_SetPriority(DMA1_Stream2_IRQn, 0, 0);
  HAL_NVIC_EnableIRQ(DMA1_Stream2_IRQn);
  /* DMA1_Stream3_IRQn interrupt configuration */
  HAL_NVIC_SetPriority(DMA1_Stream3_IRQn, 0, 0);
  HAL_NVIC_EnableIRQ(DMA1_Stream3_IRQn);
  /* DMA1_Stream4_IRQn interrupt configuration */
  HAL_NVIC_SetPriority(DMA1_Stream4_IRQn, 0, 0);
  HAL_NVIC_EnableIRQ(DMA1_Stream4_IRQn);
  /* DMA1_Stream5_IRQn interrupt configuration */
  HAL_NVIC_SetPriority(DMA1_Stream5_IRQn, 0, 0);
  HAL_NVIC_EnableIRQ(DMA1_Stream5_IRQn);
  /* DMA1_Stream6_IRQn interrupt configuration */
  HAL_NVIC_SetPriority(DMA1_Stream6_IRQn, 0, 0);
  HAL_NVIC_EnableIRQ(DMA1_Stream6_IRQn);
  /* DMA1_Stream7_IRQn interrupt configuration */
  HAL_NVIC_SetPriority(DMA1_Stream7_IRQn, 0, 0);
  HAL_NVIC_EnableIRQ(DMA1_Stream7_IRQn);

}

static void MX_GPIO_Init(void)
{
  GPIO_InitTypeDef GPIO_InitStruct = {0};

  /* GPIO Ports Clock Enable */
  __HAL_RCC_GPIOC_CLK_ENABLE();
  __HAL_RCC_GPIOH_CLK_ENABLE();
  __HAL_RCC_GPIOA_CLK_ENABLE();
  __HAL_RCC_GPIOB_CLK_ENABLE();
  __HAL_RCC_GPIOD_CLK_ENABLE();

  /*Configure GPIO pin Output Level */
  HAL_GPIO_WritePin(LED4_GPIO_Port, LED4_Pin, GPIO_PIN_RESET);

  /*Configure GPIO pin Output Level */
  HAL_GPIO_WritePin(GPIOC, IO_OUT_1_Pin|IO_OUT_2_Pin, GPIO_PIN_RESET);

  /*Configure GPIO pin Output Level */
  HAL_GPIO_WritePin(GPIOB, LED3_Pin|LED2_Pin, GPIO_PIN_RESET);

  /*Configure GPIO pin : USR_BUTT_Pin */
  GPIO_InitStruct.Pin = USR_BUTT_Pin;
  GPIO_InitStruct.Mode = GPIO_MODE_INPUT;
  GPIO_InitStruct.Pull = GPIO_NOPULL;
  HAL_GPIO_Init(USR_BUTT_GPIO_Port, &GPIO_InitStruct);

  /*Configure GPIO pin : LED4_Pin */
  GPIO_InitStruct.Pin = LED4_Pin;
  GPIO_InitStruct.Mode = GPIO_MODE_OUTPUT_PP;
  GPIO_InitStruct.Pull = GPIO_NOPULL;
  GPIO_InitStruct.Speed = GPIO_SPEED_FREQ_LOW;
  HAL_GPIO_Init(LED4_GPIO_Port, &GPIO_InitStruct);

  /*Configure GPIO pin : IO_IN_2_Pin */
  GPIO_InitStruct.Pin = IO_IN_2_Pin;
  GPIO_InitStruct.Mode = GPIO_MODE_INPUT;
  GPIO_InitStruct.Pull = GPIO_NOPULL;
  HAL_GPIO_Init(IO_IN_2_GPIO_Port, &GPIO_InitStruct);

  /*Configure GPIO pins : IO_OUT_1_Pin IO_OUT_2_Pin */
  GPIO_InitStruct.Pin = IO_OUT_1_Pin|IO_OUT_2_Pin;
  GPIO_InitStruct.Mode = GPIO_MODE_OUTPUT_PP;
  GPIO_InitStruct.Pull = GPIO_NOPULL;
  GPIO_InitStruct.Speed = GPIO_SPEED_FREQ_LOW;
  HAL_GPIO_Init(GPIOC, &GPIO_InitStruct);

  /*Configure GPIO pin : ADC_IN_Pin */
  GPIO_InitStruct.Pin = ADC_IN_Pin;
  GPIO_InitStruct.Mode = GPIO_MODE_ANALOG;
  GPIO_InitStruct.Pull = GPIO_NOPULL;
  HAL_GPIO_Init(ADC_IN_GPIO_Port, &GPIO_InitStruct);

  /*Configure GPIO pins : LED3_Pin LED2_Pin */
  GPIO_InitStruct.Pin = LED3_Pin|LED2_Pin;
  GPIO_InitStruct.Mode = GPIO_MODE_OUTPUT_PP;
  GPIO_InitStruct.Pull = GPIO_NOPULL;
  GPIO_InitStruct.Speed = GPIO_SPEED_FREQ_LOW;
  HAL_GPIO_Init(GPIOB, &GPIO_InitStruct);

}

void Error_Handler(void)
{
}

/************************ (C) COPYRIGHT STMicroelectronics *****END OF FILE****/
